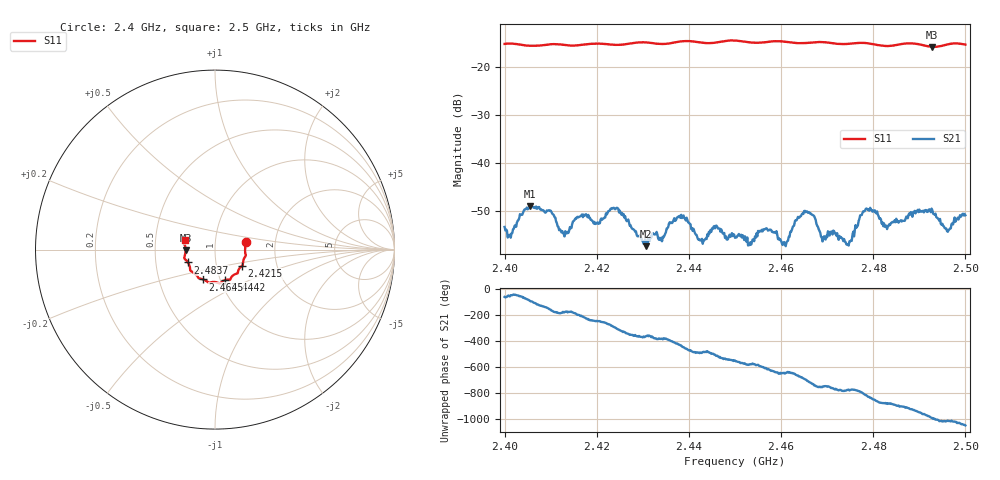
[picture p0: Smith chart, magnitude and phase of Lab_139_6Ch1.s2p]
# Hz S RI R 50
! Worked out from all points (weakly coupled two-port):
!   601 points, 2.4 GHz to 2.5 GHz, reference 50 ohm
!   highest |S21| = -49.08 dB at 2.4055 GHz (marker M1); lowest = -57.4 dB at 2.4307 GHz (marker M2)
!   lowest |S11| = -15.7 dB at 2.4928 GHz (marker M3), VSWR 1.39, Z = 36 - j0.367 ohm
!   |S11| at or under -10 dB: start of sweep to end of sweep
!   S12 and S22 are empty: the file has one direction only
!   S11 on the Smith chart (normalised r, x): 2.4 GHz: 1.41, +0.12; 2.4215 GHz: 1.33, -0.25; 2.4442 GHz: 1.05, -0.37; 2.4645 GHz: 0.83, -0.29; 2.4837 GHz: 0.73, -0.11; 2.5 GHz: 0.71, +0.07
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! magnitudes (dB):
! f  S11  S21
! 2.4 GHz  -15.1  -53.4
! 2.4055 GHz  -15.5  -49.1
! 2.413 GHz  -15.3  -55.4
! 2.4167 GHz  -15.3  -50.9
! 2.4215 GHz  -15.1  -51.6
! 2.4242 GHz  -15.3  -49.5
! 2.4307 GHz  -14.8  -57.4
! 2.4333 GHz  -15.1  -55.8
! 2.4383 GHz  -14.6  -50.9
! 2.4442 GHz  -15.0  -55.3
! 2.45 GHz  -14.4  -55.7
! 2.4607 GHz  -14.6  -56.6
! 2.4645 GHz  -15.0  -50.7
! 2.4667 GHz  -14.8  -50.8
! 2.4692 GHz  -14.7  -55.7
! 2.4743 GHz  -15.1  -57.1
! 2.4783 GHz  -14.9  -49.7
! 2.4833 GHz  -15.5  -53.2
! 2.4837 GHz  -15.5  -53.0
! 2.4928 GHz  -15.7  -49.9
! 2.4962 GHz  -15.2  -54.4
! 2.5 GHz  -15.3  -51.0
